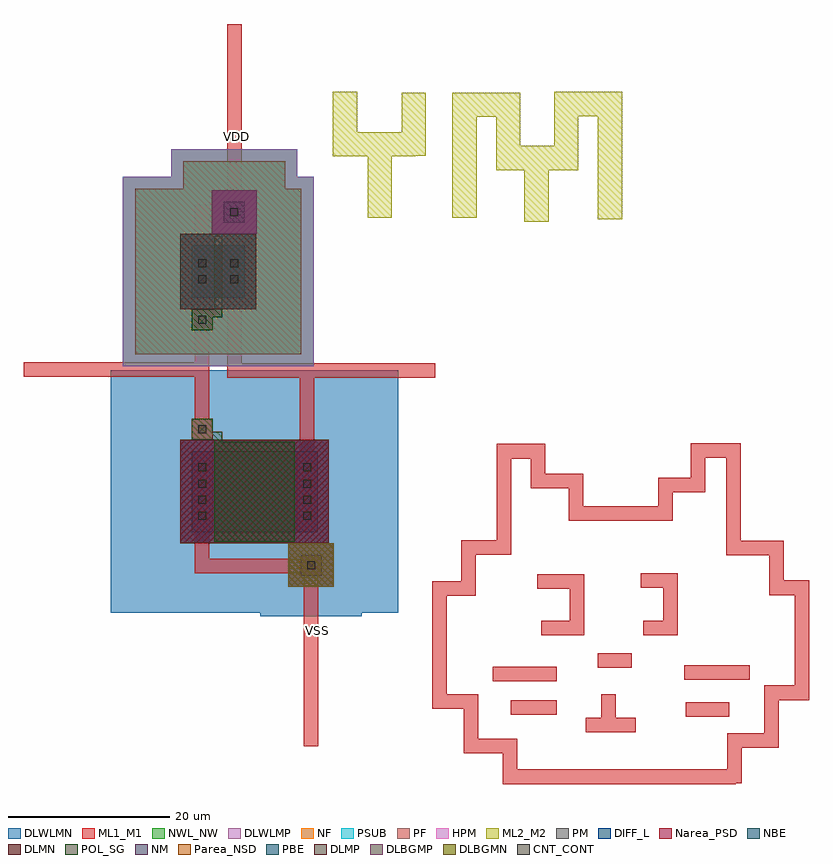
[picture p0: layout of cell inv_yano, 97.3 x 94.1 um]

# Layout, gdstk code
import gdstk
lib = gdstk.Library(unit=1e-6, precision=1e-07)
def R(c, l, rs):  # rectangles x0, y0, x1, y1
    for r in rs: c.add(gdstk.rectangle(r[:2], r[2:], *l))
DIFF_L = (3, 0)
NM = (7, 0)
POL_SG = (8, 0)
Narea_PSD = (9, 0)
CNT_CONT = (11, 0)
ML1_M1 = (13, 0)
ML2_M2 = (20, 0)
NF = (25, 0)
PF = (26, 0)
Parea_NSD = (28, 0)
HPM = (33, 0)
PM = (35, 0)
NWL_NW = (36, 0)
PSUB = (140, 0)
PBE = (146, 0)
NBE = (147, 0)
DLWLMP = (150, 0)
DLWLMN = (151, 0)
DLMP = (157, 0)
DLMN = (158, 0)
DLBGMP = (177, 0)
DLBGMN = (178, 0)

dcont = lib.new_cell('dcont')
R(dcont, DIFF_L, [(-1.3,-1.3,1.3,1.3)])
R(dcont, CNT_CONT, [(-0.5,-0.5,0.5,0.5)])
R(dcont, ML1_M1, [(-1.3,-1.3,1.3,1.3), (-0.5,-0.5,0.5,0.5)])

pcont = lib.new_cell('pcont')
R(pcont, POL_SG, [(-1.3,-1.3,1.3,1.3)])
R(pcont, CNT_CONT, [(-0.5,-0.5,0.5,0.5)])
R(pcont, ML1_M1, [(-1.3,-1.3,1.3,1.3), (-0.5,-0.5,0.5,0.5)])

c_dcont = lib.new_cell('DCONT')
R(c_dcont, DIFF_L, [(-1.3,-1.3,1.3,1.3)])
R(c_dcont, CNT_CONT, [(-0.5,-0.5,0.5,0.5)])
R(c_dcont, ML1_M1, [(-1.3,-1.3,1.3,1.3), (-0.5,-0.5,0.5,0.5)])

nsubcont = lib.new_cell('nsubcont')
R(nsubcont, NM, [(-2.8,-2.7,2.8,2.7)])
R(nsubcont, Narea_PSD, [(-2.8,-2.7,2.8,2.7)])
R(nsubcont, NF, [(-6.3,-6.3,6.3,6.3)])
R(nsubcont, PF, [(-6.3,-6.3,6.3,6.3)])
R(nsubcont, HPM, [(-2.8,-2.7,2.8,2.7)])
R(nsubcont, PM, [(-2.8,-2.7,2.8,2.7)])
R(nsubcont, NWL_NW, [(-7.8,-7.8,7.8,7.8)])
R(nsubcont, PSUB, [(-6.3,-6.3,6.3,6.3)])
R(nsubcont, DLWLMP, [(-7.8,-7.8,7.8,7.8)])
R(nsubcont, DLBGMP, [(-2.8,-2.7,2.8,2.7)])
nsubcont.add(gdstk.Reference(c_dcont, (0,0)))

c_mp = lib.new_cell('MP')
R(c_mp, DIFF_L, [(0,3.6,6.6,10.1)])
R(c_mp, NM, [(-1.4,2.2,8,11.5)])
R(c_mp, NF, [(-7,-3.4,13.6,17.1)])
R(c_mp, PF, [(-7,-3.4,13.6,17.1)])
R(c_mp, Parea_NSD, [(-1.4,2.2,8,11.5)])
R(c_mp, HPM, [(-1.4,2.2,8,11.5)])
R(c_mp, NWL_NW, [(-8.5,-4.9,15.1,18.6)])
R(c_mp, PSUB, [(-7,-3.4,13.6,17.1)])
R(c_mp, PBE, [(-1.4,2.2,8,11.5)])
R(c_mp, DLWLMP, [(-8.5,-4.9,15.1,18.6)])
R(c_mp, DLMP, [(-1.4,2.2,8,11.5)])
c_mp.add(gdstk.FlexPath([(1.3,3.6),(1.3,10.1)], 2.6, ends="flush", simple_path=True, layer=13, datatype=0))  # ML1_M1
c_mp.add(gdstk.FlexPath([(5.3,3.6),(5.3,10.1)], 2.6, ends="flush", simple_path=True, layer=13, datatype=0))  # ML1_M1
c_mp.add(gdstk.FlexPath([(1.3,9.1),(1.3,12.4)], 1.8, ends="flush", simple_path=True, layer=13, datatype=0))  # ML1_M1
c_mp.add(gdstk.FlexPath([(5.3,1.3),(5.3,4.6)], 1.8, ends="flush", simple_path=True, layer=13, datatype=0))  # ML1_M1
c_mp.add(gdstk.FlexPath([(3.3,3.6),(3.3,10.1)], 1, ends=(1.2, 1.2), simple_path=True, layer=8, datatype=0))  # POL_SG
c_mp.add(gdstk.FlexPath([(1.3,1.7),(3.3,1.7),(3.3,2.4)], 1, ends="flush", simple_path=True, layer=8, datatype=0))  # POL_SG
c_mp.add(gdstk.Reference(dcont, (1.3,5.9)))
c_mp.add(gdstk.Reference(dcont, (1.3,7.9)))
c_mp.add(gdstk.Reference(dcont, (5.3,5.9)))
c_mp.add(gdstk.Reference(dcont, (5.3,7.9)))
c_mp.add(gdstk.Reference(pcont, (1.3,0.9)))
c_mp.add(gdstk.Reference(nsubcont, (5.3,14.2)))

psubcont = lib.new_cell('psubcont')
R(psubcont, NM, [(-2.8,-2.7,2.8,2.7)])
R(psubcont, Parea_NSD, [(-2.8,-2.7,2.8,2.7)])
R(psubcont, HPM, [(-2.8,-2.7,2.8,2.7)])
R(psubcont, PM, [(-2.8,-2.7,2.8,2.7)])
R(psubcont, DLWLMN, [(-6.3,-6.3,6.3,6.3)])
R(psubcont, DLBGMN, [(-2.8,-2.7,2.8,2.7)])
psubcont.add(gdstk.Reference(c_dcont, (0,0)))

mn_1 = lib.new_cell('MN$1')
R(mn_1, DIFF_L, [(0,3.6,15.6,13.6)])
R(mn_1, Narea_PSD, [(-1.4,2.2,17,15)])
R(mn_1, HPM, [(-1.4,2.2,17,15)])
R(mn_1, PM, [(-1.4,2.2,17,15)])
R(mn_1, NBE, [(-1.4,2.2,17,15)])
R(mn_1, DLWLMN, [(-10,-6.4,25.6,23.6)])
R(mn_1, DLMN, [(-1.4,2.2,17,15)])
mn_1.add(gdstk.FlexPath([(1.3,3.6),(1.3,13.6)], 2.6, ends="flush", simple_path=True, layer=13, datatype=0))  # ML1_M1
mn_1.add(gdstk.FlexPath([(14.3,3.6),(14.3,13.6)], 2.6, ends="flush", simple_path=True, layer=13, datatype=0))  # ML1_M1
mn_1.add(gdstk.FlexPath([(1.3,1.3),(1.3,4.6)], 1.8, ends="flush", simple_path=True, layer=13, datatype=0))  # ML1_M1
mn_1.add(gdstk.FlexPath([(14.3,12.6),(14.3,15.9)], 1.8, ends="flush", simple_path=True, layer=13, datatype=0))  # ML1_M1
mn_1.add(gdstk.FlexPath([(7.8,3.6),(7.8,13.6)], 10, ends=(1.2, 1.2), simple_path=True, layer=8, datatype=0))  # POL_SG
mn_1.add(gdstk.FlexPath([(1.3,15.5),(3.3,15.5),(3.3,14.8)], 1, ends="flush", simple_path=True, layer=8, datatype=0))  # POL_SG
mn_1.add(gdstk.Reference(dcont, (1.3,5.6)))
mn_1.add(gdstk.Reference(dcont, (1.3,7.6)))
mn_1.add(gdstk.Reference(dcont, (1.3,9.6)))
mn_1.add(gdstk.Reference(dcont, (1.3,11.6)))
mn_1.add(gdstk.Reference(dcont, (14.3,5.6)))
mn_1.add(gdstk.Reference(dcont, (14.3,7.6)))
mn_1.add(gdstk.Reference(dcont, (14.3,9.6)))
mn_1.add(gdstk.Reference(dcont, (14.3,11.6)))
mn_1.add(gdstk.Reference(pcont, (1.3,16.3)))
mn_1.add(gdstk.Reference(psubcont, (14.8,-0.5)))

inv_yano = lib.new_cell('inv_yano')
inv_yano.add(gdstk.FlexPath([(-18.7,6.9),(-18.7,-6.9)], 1.8, ends="flush", simple_path=True, layer=13, datatype=0))  # ML1_M1
inv_yano.add(gdstk.FlexPath([(-18.8,0.7),(-40.8,0.7)], 1.8, ends="flush", simple_path=True, layer=13, datatype=0))  # ML1_M1
inv_yano.add(gdstk.FlexPath([(-14.7,7.7),(-14.7,0.6),(10.2,0.6)], 1.8, ends="flush", simple_path=True, layer=13, datatype=0))  # ML1_M1
inv_yano.add(gdstk.FlexPath([(-18.7,-21.2),(-18.7,-23.6),(-5.1,-23.6)], 1.8, ends="flush", simple_path=True, layer=13, datatype=0))  # ML1_M1
inv_yano.add(gdstk.FlexPath([(-18.7,17.5),(-18.7,20.2),(-14.7,20.2)], 1.8, ends="flush", simple_path=True, layer=13, datatype=0))  # ML1_M1
inv_yano.add(gdstk.FlexPath([(-5.2,-23.6),(-5.2,-45.9)], 1.8, ends="flush", simple_path=True, layer=13, datatype=0))  # ML1_M1
inv_yano.add(gdstk.FlexPath([(-14.7,20.3),(-14.7,43.5)], 1.8, ends="flush", simple_path=True, layer=13, datatype=0))  # ML1_M1
inv_yano.add(gdstk.FlexPath([(-5.7,-8),(-5.7,0.6)], 1.8, ends="flush", simple_path=True, layer=13, datatype=0))  # ML1_M1
inv_yano.add(gdstk.FlexPath([(18.7,-17.4),(18.7,-21.3),(14.3,-21.3),(14.3,-26.4),(10.7,-26.4),(10.7,-40.4),(14.6,-40.4),(14.6,-45.9),(19.4,-45.9),(19.4,-50.6)], 1.8, ends="flush", simple_path=True, layer=13, datatype=0))  # ML1_M1
inv_yano.add(gdstk.FlexPath([(56.5,-39.3),(51.8,-39.3),(51.8,-45.2),(47.2,-45.2),(47.2,-50.5)], 1.8, ends="flush", simple_path=True, layer=13, datatype=0))  # ML1_M1
inv_yano.add(gdstk.FlexPath([(55.6,-40.2),(55.6,-26.3),(52.4,-26.3),(52.4,-21.4),(47.1,-21.4),(47.1,-17.3)], 1.8, ends="flush", simple_path=True, layer=13, datatype=0))  # ML1_M1
inv_yano.add(gdstk.FlexPath([(18.5,-49.7),(47.4,-49.7)], 1.8, ends="flush", simple_path=True, layer=13, datatype=0))  # ML1_M1
inv_yano.add(gdstk.FlexPath([(26.7,-17.1),(39.4,-17.1)], 1.8, ends="flush", simple_path=True, layer=13, datatype=0))  # ML1_M1
inv_yano.add(gdstk.FlexPath([(18.7,-17.4),(18.7,-9.4),(22.9,-9.4),(22.9,-13.1),(27.6,-13.1),(27.6,-17)], 1.8, ends="flush", simple_path=True, layer=13, datatype=0))  # ML1_M1
inv_yano.add(gdstk.FlexPath([(38.7,-18),(38.7,-13.6),(42.7,-13.6),(42.7,-9.3),(47.1,-9.3),(47.1,-20.2)], 1.8, ends="flush", simple_path=True, layer=13, datatype=0))  # ML1_M1
inv_yano.add(gdstk.FlexPath([(22.8,-25.5),(27.7,-25.5),(27.7,-31.3),(23.3,-31.3)], 1.8, ends="flush", simple_path=True, layer=13, datatype=0))  # ML1_M1
inv_yano.add(gdstk.FlexPath([(35.6,-25.4),(39.3,-25.4),(39.3,-31.3),(35.9,-31.3)], 1.8, ends="flush", simple_path=True, layer=13, datatype=0))  # ML1_M1
inv_yano.add(gdstk.FlexPath([(17.3,-37),(25.2,-37)], 1.8, ends="flush", simple_path=True, layer=13, datatype=0))  # ML1_M1
inv_yano.add(gdstk.FlexPath([(19.5,-41.1),(25.2,-41.1)], 1.8, ends="flush", simple_path=True, layer=13, datatype=0))  # ML1_M1
inv_yano.add(gdstk.FlexPath([(41,-36.8),(49.1,-36.8)], 1.8, ends="flush", simple_path=True, layer=13, datatype=0))  # ML1_M1
inv_yano.add(gdstk.FlexPath([(41.2,-41.4),(46.6,-41.4)], 1.8, ends="flush", simple_path=True, layer=13, datatype=0))  # ML1_M1
inv_yano.add(gdstk.FlexPath([(30.3,-35.3),(34.5,-35.3)], 1.8, ends="flush", simple_path=True, layer=13, datatype=0))  # ML1_M1
inv_yano.add(gdstk.FlexPath([(28.8,-43.3),(35,-43.3)], 1.8, ends="flush", simple_path=True, layer=13, datatype=0))  # ML1_M1
inv_yano.add(gdstk.FlexPath([(31.6,-43.3),(31.6,-39.5)], 1.8, ends="flush", simple_path=True, layer=13, datatype=0))  # ML1_M1
inv_yano.add(gdstk.FlexPath([(-1,35.1),(-1,27.1)], 3, ends="flush", simple_path=True, layer=20, datatype=0))  # ML2_M2
inv_yano.add(gdstk.FlexPath([(7.5,35),(7.5,27.2)], 3, ends="flush", simple_path=True, layer=20, datatype=0))  # ML2_M2
inv_yano.add(gdstk.FlexPath([(-1.1,28.6),(7.7,28.6)], 3, ends="flush", simple_path=True, layer=20, datatype=0))  # ML2_M2
inv_yano.add(gdstk.FlexPath([(3.3,28.7),(3.3,19.5)], 3, ends="flush", simple_path=True, layer=20, datatype=0))  # ML2_M2
inv_yano.add(gdstk.FlexPath([(13.8,35),(13.8,19.5)], 3, ends="flush", simple_path=True, layer=20, datatype=0))  # ML2_M2
inv_yano.add(gdstk.FlexPath([(14.2,33.5),(19.2,33.5),(19.2,26.9),(22.7,26.9),(22.7,19)], 3, ends="flush", simple_path=True, layer=20, datatype=0))  # ML2_M2
inv_yano.add(gdstk.FlexPath([(22.4,26.9),(26.4,26.9),(26.4,33.6),(31.4,33.6)], 3, ends="flush", simple_path=True, layer=20, datatype=0))  # ML2_M2
inv_yano.add(gdstk.FlexPath([(31.8,35.1),(31.8,19.3)], 3, ends="flush", simple_path=True, layer=20, datatype=0))  # ML2_M2
inv_yano.add(gdstk.Reference(c_mp, (-20,6)))
inv_yano.add(gdstk.Reference(mn_1, (-20,-23)))
inv_yano.add(gdstk.Label('VDD', (-14.4,29.6), layer=13, texttype=0))
inv_yano.add(gdstk.Label('VSS', (-4.4,-31.6), layer=13, texttype=0))

lib.write_gds('inv_yano.gds')
